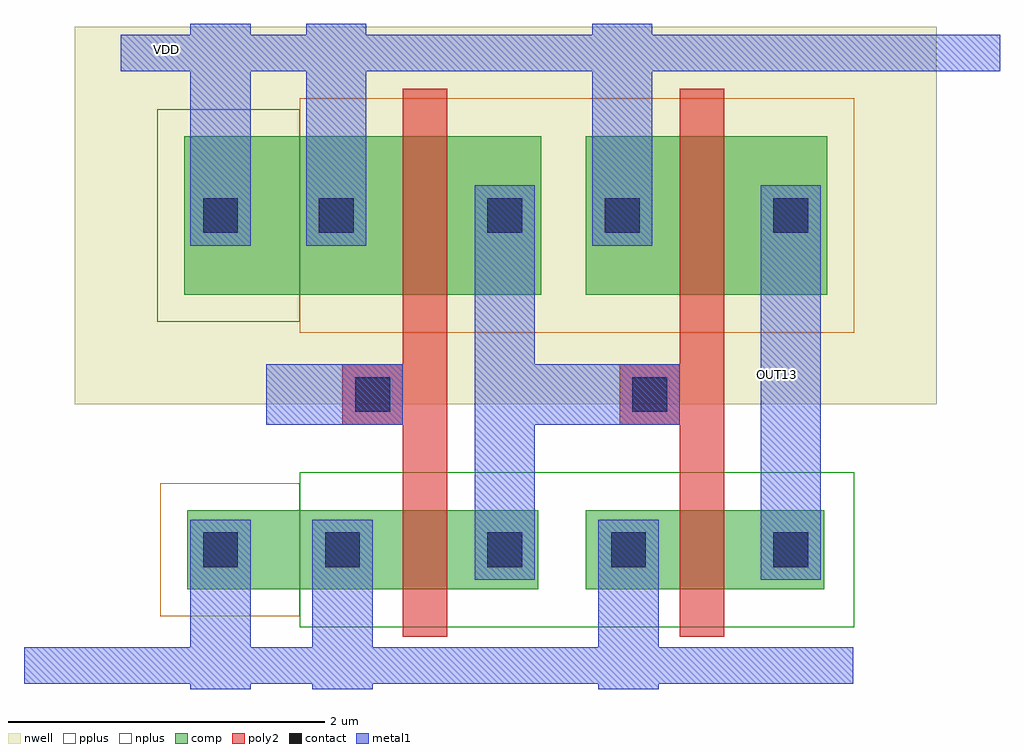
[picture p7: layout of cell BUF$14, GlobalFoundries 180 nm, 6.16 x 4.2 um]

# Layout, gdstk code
import gdstk
lib = gdstk.Library(unit=1e-6, precision=5e-09)
def R(c, l, rs):  # rectangles x0, y0, x1, y1
    for r in rs: c.add(gdstk.rectangle(r[:2], r[2:], *l))
nwell = (21, 0)
comp = (22, 0)
poly2 = (30, 0)
pplus = (31, 0)
nplus = (32, 0)
contact = (33, 0)
metal1 = (34, 0)

buf_14 = lib.new_cell('BUF$14')
R(buf_14, nwell, [(-1.55,0.955,3.89,3.335)])
R(buf_14, comp, [(-0.84,-0.215,-0.13,0.285), (-0.13,-0.215,0.35,0.285), (0.35,-0.215,0.955,0.285), (0.955,-0.215,1.375,0.285), (1.675,-0.215,2.155,0.285), (2.155,-0.215,2.76,0.285), (2.76,-0.215,3.18,0.285), (-0.86,1.645,-0.13,2.645), (-0.13,1.645,0.33,2.645), (0.33,1.645,0.935,2.645), (0.935,1.645,1.395,2.645), (1.675,1.645,2.135,2.645), (2.135,1.645,2.74,2.645), (2.74,1.645,3.2,2.645)])
R(buf_14, poly2, [(0.52,-0.515,0.8,2.945), (2.27,-0.515,2.55,2.945), (0.14,0.825,0.52,1.205), (1.89,0.825,2.27,1.205)])
R(buf_14, pplus, [(-1.01,-0.385,-0.13,0.455), (-0.13,1.405,1.62,2.885), (1.62,1.405,3.37,2.885)])
R(buf_14, nplus, [(-0.13,-0.455,1.62,0.525), (1.62,-0.455,3.37,0.525), (-1.03,1.475,-0.13,2.815)])
R(buf_14, contact, [(-0.74,-0.075,-0.52,0.145), (0.03,-0.075,0.25,0.145), (1.055,-0.075,1.275,0.145), (1.835,-0.075,2.055,0.145), (2.86,-0.075,3.08,0.145), (0.22,0.905,0.44,1.125), (1.97,0.905,2.19,1.125), (-0.74,2.035,-0.52,2.255), (-0.01,2.035,0.21,2.255), (1.055,2.035,1.275,2.255), (1.795,2.035,2.015,2.255), (2.86,2.035,3.08,2.255)])
R(buf_14, metal1, [(-0.82,-0.845,-0.44,-0.155), (-0.05,-0.845,0.33,-0.155), (1.755,-0.845,2.135,-0.155), (-1.87,-0.81,3.365,-0.58), (-0.82,-0.155,-0.44,0.225), (-0.05,-0.155,0.33,0.225), (0.975,-0.155,1.355,0.225), (1.755,-0.155,2.135,0.225), (2.78,-0.155,3.16,0.225), (0.975,0.225,1.355,1.955), (2.78,0.225,3.16,1.955), (-0.34,0.825,0.14,1.205), (0.14,0.825,0.52,1.205), (1.355,0.825,1.89,1.205), (1.89,0.825,2.27,1.205), (-0.82,1.955,-0.44,2.335), (-0.09,1.955,0.29,2.335), (0.975,1.955,1.355,2.335), (1.715,1.955,2.095,2.335), (2.78,1.955,3.16,2.335), (-0.82,2.335,-0.44,3.355), (-0.09,2.335,0.29,3.355), (1.715,2.335,2.095,3.355), (-1.26,3.055,4.29,3.285)])
buf_14.add(gdstk.Label('OUT13', (2.885,1.14), layer=34, texttype=10))
buf_14.add(gdstk.Label('VDD', (-0.97,3.195), layer=34, texttype=10))

lib.write_gds('BUF_14.gds')
